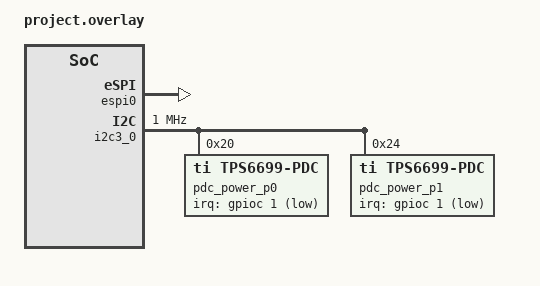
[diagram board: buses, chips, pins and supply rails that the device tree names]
/* Copyright 2024 The ChromiumOS Authors
 * Use of this source code is governed by a BSD-style license that can be
 * found in the LICENSE file.
 */

/* fatcat program common DTS includes */

#include <cros/integrated_fwid.dtsi>

#include "../fatcat_stub.dts"

/* francka project DTS includes */

#include <cros/cbi_flash.dtsi>

#include "../francka/adc.dtsi"
#include "../francka/battery.dtsi"
#include "../francka/cbi.dtsi"
#include "../francka/gpios.dtsi"
#include "../francka/i2c.dtsi"
#include "../francka/keyboard.dtsi"
#include "../francka/led_pins.dtsi"
#include "../francka/led_policy.dtsi"
#include "../francka/motionsense.dtsi"
#include "../francka/overlay.dtsi"
#include "../francka/power_signals.dtsi"
#include "../francka/thermal.dtsi"
#include "../francka/usba.dtsi"
#include "../francka/usbc.dtsi"

/* francka overrides follow... */

&cbi_flash {
	/*
	 * CBI section size is 0x1000 bytes, the CBI portion lies at the end of
	 * EC_RO section. EC_RO section ends at 0x50000 byte which is the offset
	 */
	offset = <0x50000>;
	size = <0x1000>;
};

/* AP interface */
&espi0 {
	status = "okay";
	pinctrl-0 = <&espi_lpc_gp46_47_51_52_53_54_55_57>;
	pinctrl-names = "default";
};

/delete-node/ &pdc_power_p0;
/delete-node/ &pdc_power_p1;

&i2c3_0 {
	label = "I2C_PORT_PD";
	clock-frequency = <I2C_BITRATE_FAST_PLUS>;

	pdc_power_p0: tps6699-pdc@20 {
		compatible = "ti,tps6699-pdc";
		reg = <0x20>;
		irq-gpios = <&gpioc 1 GPIO_ACTIVE_LOW>;
	};
	pdc_power_p1: tps6699-pdc@24 {
		compatible = "ti,tps6699-pdc";
		reg = <0x24>;
		irq-gpios = <&gpioc 1 GPIO_ACTIVE_LOW>;
	};
};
